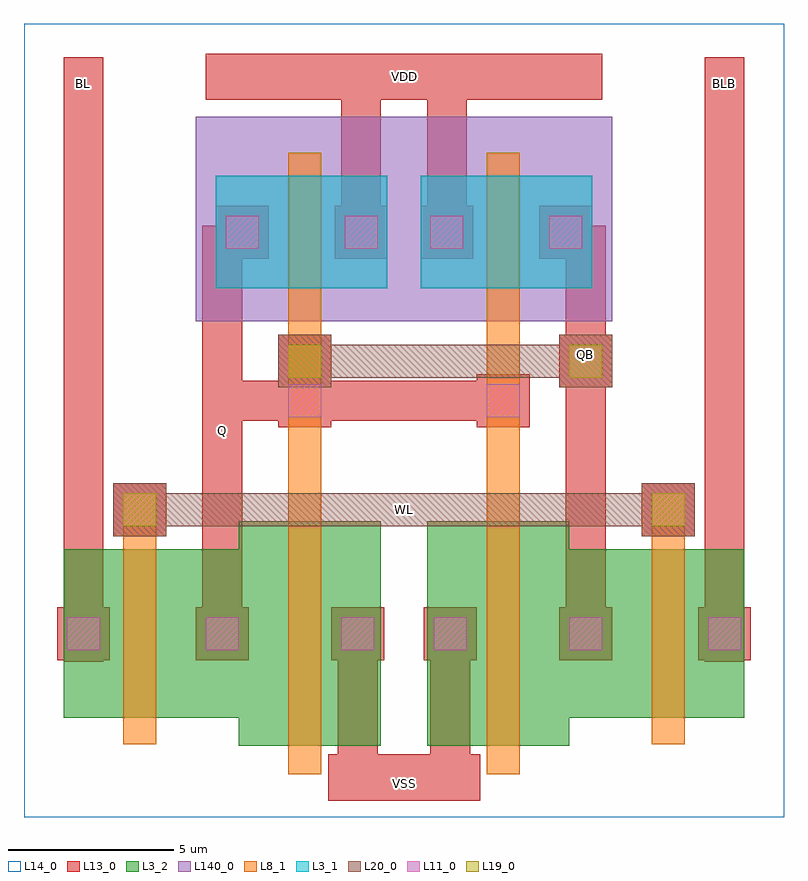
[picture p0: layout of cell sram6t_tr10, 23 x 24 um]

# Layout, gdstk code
import gdstk
lib = gdstk.Library(unit=1e-6, precision=1e-09)
def R(c, l, rs):  # rectangles x0, y0, x1, y1
    for r in rs: c.add(gdstk.rectangle(r[:2], r[2:], *l))
def P(c, l, *ps):  # polygons
    for p in ps: c.add(gdstk.Polygon(p, *l))
L3_1 = (3, 1)
L3_2 = (3, 2)
L8_1 = (8, 1)
L11_0 = (11, 0)
L13_0 = (13, 0)
L14_0 = (14, 0)
L19_0 = (19, 0)
L20_0 = (20, 0)
L140_0 = (140, 0)

sram6t_tr10 = lib.new_cell('sram6t_tr10')
R(sram6t_tr10, L3_1, [(5.8,16,11,19.4), (12,16,17.2,19.4)])
P(sram6t_tr10, L3_2, [(1.2,3),(6.5,3),(6.5,2.15),(10.8,2.15),(10.8,8.95),(6.5,8.95),(6.5,8.1),(1.2,8.1)],
  [(12.2,2.15),(16.5,2.15),(16.5,3),(21.8,3),(21.8,8.1),(16.5,8.1),(16.5,8.95),(12.2,8.95)])
R(sram6t_tr10, L8_1, [(8,1.3,9,20.1), (14,1.3,15,20.1), (3,2.2,4,9.8), (19,2.2,20,9.8)])
R(sram6t_tr10, L11_0, [(1.3,5.05,2.3,6.05), (5.5,5.05,6.5,6.05), (9.6,5.05,10.6,6.05), (12.4,5.05,13.4,6.05), (16.5,5.05,17.5,6.05), (20.7,5.05,21.7,6.05), (3,8.8,4,9.8), (19,8.8,20,9.8), (8,12.1,9,13.1), (14,12.1,15,13.1), (6.1,17.2,7.1,18.2), (9.7,17.2,10.7,18.2), (12.3,17.2,13.3,18.2), (15.9,17.2,16.9,18.2)])
R(sram6t_tr10, L13_0, [(9.2,0.5,13.8,1.9), (9.5,1.2,10.7,5.8), (12.3,1.2,13.5,5.8), (1.2,4.7,2.4,23), (20.6,4.7,21.8,23), (1,4.75,2.6,6.35), (5.2,4.75,6.8,6.35), (9.3,4.75,10.9,6.35), (12.1,4.75,13.7,6.35), (16.2,4.75,17.8,6.35), (20.4,4.75,22,6.35), (5.4,5,6.6,17.9), (16.4,5,17.6,17.9), (2.7,8.5,4.3,10.1), (18.7,8.5,20.3,10.1), (7.7,11.8,9.3,13.4), (13.7,11.8,15.3,13.4), (6,12,14.5,13.2), (7.7,13,9.3,14.6), (16.2,13,17.8,14.6), (5.8,16.9,7.4,18.5), (9.4,16.9,11,18.5), (12,16.9,13.6,18.5), (15.6,16.9,17.2,18.5), (6,17.1,7.2,18.3), (15.8,17.1,17,18.3), (9.6,17.2,10.8,22.4), (12.2,17.2,13.4,22.4), (5.5,21.7,17.5,23.1)])
R(sram6t_tr10, L14_0, [(0,0,23,24)])
R(sram6t_tr10, L19_0, [(3,8.8,4,9.8), (19,8.8,20,9.8), (8,13.3,9,14.3), (16.5,13.3,17.5,14.3)])
R(sram6t_tr10, L20_0, [(2.7,8.5,4.3,10.1), (18.7,8.5,20.3,10.1), (3.5,8.8,19.5,9.8), (7.7,13,9.3,14.6), (16.2,13,17.8,14.6), (8.5,13.3,17,14.3)])
R(sram6t_tr10, L140_0, [(5.2,15,17.8,21.2)])
sram6t_tr10.add(gdstk.Label('BL', (1.8,22.2), layer=13, texttype=0))
sram6t_tr10.add(gdstk.Label('BLB', (21.2,22.2), layer=13, texttype=0))
sram6t_tr10.add(gdstk.Label('WL', (11.5,9.3), layer=20, texttype=0))
sram6t_tr10.add(gdstk.Label('VDD', (11.5,22.4), layer=13, texttype=0))
sram6t_tr10.add(gdstk.Label('VSS', (11.5,1), layer=13, texttype=0))
sram6t_tr10.add(gdstk.Label('Q', (6,11.7), layer=13, texttype=0))
sram6t_tr10.add(gdstk.Label('QB', (17,14), layer=20, texttype=0))

lib.write_gds('sram6t_tr10.gds')
